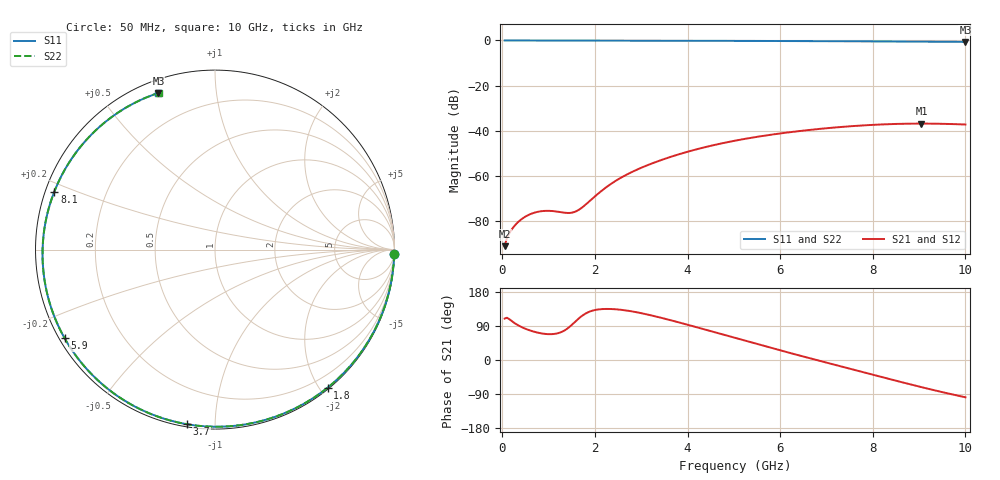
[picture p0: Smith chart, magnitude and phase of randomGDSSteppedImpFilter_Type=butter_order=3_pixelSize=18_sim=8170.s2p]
! freq	dB(S11)	phase(S11)	dB(S12)	phase(S12)
!  dB(S21)	phase(S21)	dB(S22)	phase(S22)
!S-par simulation data
#  GHz  S  DB  R 50
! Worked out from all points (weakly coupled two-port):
!   200 points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, 50 MHz to 10 GHz, reference 50 ohm
!   highest |S21| = -36.86 dB at 9.05 GHz (marker M1); lowest = -91.2 dB at 50 MHz (marker M2)
!   lowest |S11| = -0.6 dB at 10 GHz (marker M3), VSWR 26.77, Z = 2.79 + j35 ohm
!   |S11| at or under -10 dB: nowhere
!   |S22| runs from -0.6 to 0.0 dB; largest |S21 - S12| = 0
!   S11 on the Smith chart (normalised r, x): 50 MHz: 2, -82; 1.8 GHz: 0.02, -2.11; 3.7 GHz: 0.01, -0.85; 5.9 GHz: 0.01, -0.27; 8.1 GHz: 0.03, +0.17; 10 GHz: 0.06, +0.70
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0.05  -0.01 -1.4  -91.19 109.2  -91.19 109.2  -0.01 -1.4
0.35  -0.02 -10.1  -80.34 91.1  -80.34 91.1  -0.02 -10.1
0.6  -0.02 -17.3  -77.04 77.9  -77.04 77.9  -0.02 -17.3
0.85  -0.03 -24.4  -75.68 70.1  -75.68 70.1  -0.03 -24.4
1.5  -0.05 -42.6  -76.35 92.5  -76.35 92.5  -0.05 -42.6
1.6  -0.06 -45.3  -75.67 103.9  -75.67 103.9  -0.06 -45.3
1.75  -0.06 -49.4  -73.62 118.9  -73.62 118.9  -0.06 -49.4
1.8  -0.06 -50.8  -72.75 122.7  -72.75 122.7  -0.06 -50.8
2.2  -0.08 -61.5  -65.76 134.6  -65.76 134.6  -0.08 -61.5
2.5  -0.09 -69.3  -61.59 133.3  -61.59 133.3  -0.09 -69.3
2.9  -0.10 -79.5  -57.35 126.1  -57.35 126.1  -0.10 -79.6
3.4  -0.12 -91.9  -53.25 112.3  -53.25 112.3  -0.12 -92.0
3.7  -0.13 -99.2  -51.18 102.9  -51.18 102.9  -0.13 -99.2
4.35  -0.16 -114.5  -47.45 81.3  -47.45 81.3  -0.16 -114.6
5.05  -0.19 -130.5  -44.33 57.4  -44.33 57.4  -0.19 -130.5
5.9  -0.24 -149.5  -41.50 28.8  -41.50 28.8  -0.24 -149.5
6.7  -0.30 -167.3  -39.52 2.7  -39.52 2.7  -0.30 -167.4
7.4  -0.36 176.7  -38.22 -19.7  -38.22 -19.7  -0.36 176.7
8.1  -0.43 160.2  -37.32 -42.0  -37.32 -42.0  -0.43 160.1
8.35  -0.46 154.0  -37.11 -49.9  -37.11 -49.9  -0.46 154.0
9.05  -0.53 136.2  -36.86 -71.6  -36.86 -71.6  -0.53 136.1
10  -0.65 109.9  -37.26 -98.4  -37.26 -98.4  -0.65 109.8
